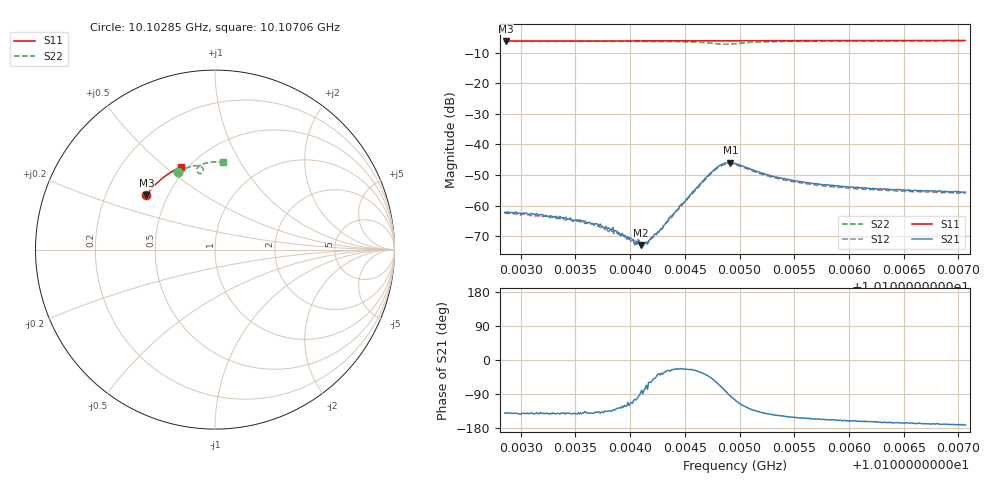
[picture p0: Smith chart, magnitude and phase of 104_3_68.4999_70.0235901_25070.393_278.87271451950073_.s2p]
#  HZ  S  RI  R  50.00
! Rohde & Schwarz Vector Network Analyzer
! Rohde-Schwarz,ZNB20-2Port,1311601062101988,3.16
! Created: UTC 3/20/2024, 4:53:11 PM
! freq[Hz]  re:S11  im:S11  re:S21  im:S21  re:S12  im:S12  re:S22  im:S22
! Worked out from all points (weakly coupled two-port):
!   401 points, 10.10285 GHz to 10.10706 GHz, reference 50 ohm
!   highest |S21| = -45.94 dB at 10.10492 GHz (marker M1); lowest = -72.8 dB at 10.1041 GHz (marker M2)
!   lowest |S11| = -6.2 dB at 10.10286 GHz (marker M3), VSWR 2.91, Z = 19 + j15.1 ohm
!   |S11| at or under -10 dB: nowhere
!   |S22| runs from -7.3 to -6.2 dB; largest |S21 - S12| = 0.00052
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1.0102853e10  -0.383 0.3024  -0.000597 -0.000497  -0.000544 -0.000542  -0.2068 0.4335
1.0102863e10  -0.3826 0.3028  -0.000608 -0.000503  -0.000539 -0.000522  -0.2061 0.434
1.0103168e10  -0.3714 0.3177  -0.000551 -0.000429  -0.000486 -0.000456  -0.188 0.4429
1.0103558e10  -0.3565 0.3361  -0.000432 -0.000343  -0.000387 -0.000396  -0.1635 0.4534
1.0103642e10  -0.3532 0.34  -0.000392 -0.000326  -0.000322 -0.000389  -0.158 0.4556
1.0103821e10  -0.3459 0.3482  -0.000281 -0.000289  -0.000258 -0.000327  -0.146 0.4596
1.0103948e10  -0.3406 0.3538  -0.000161 -0.000286  -0.000125 -0.000287  -0.1372 0.4623
1.0104e10  -0.3384 0.356  -0.000128 -0.000267  -7.5e-05 -0.000242  -0.1333 0.4634
1.0104042e10  -0.3366 0.358  -5.59e-05 -0.000222  -5.48e-05 -0.000253  -0.1302 0.4643
1.0104095e10  -0.3344 0.3601  1.21e-05 -0.000228  3.54e-05 -0.000221  -0.1262 0.4651
1.0104116e10  -0.3336 0.361  3.38e-06 -0.000246  5.71e-05 -0.000226  -0.1246 0.4656
1.0104148e10  -0.332 0.3624  9.88e-05 -0.000227  0.000104 -0.000234  -0.1221 0.4662
1.0104264e10  -0.3272 0.3674  0.000305 -0.000223  0.00032 -0.000192  -0.1126 0.4676
1.0104474e10  -0.3177 0.3762  0.000985 -0.000422  0.000987 -0.000313  -0.0924 0.4678
1.0104748e10  -0.3053 0.387  0.00235 -0.00269  0.0025 -0.0024  -0.0649 0.443
1.0104843e10  -0.3009 0.3907  0.00134 -0.00457  0.00164 -0.00426  -0.0743 0.4254
1.0104916e10  -0.2975 0.3935  -0.000445 -0.00503  2.48e-05 -0.00481  -0.0908 0.4255
1.0104959e10  -0.2957 0.395  -0.00128 -0.00467  -0.000876 -0.00461  -0.0974 0.4313
1.0105306e10  -0.2792 0.4082  -0.00244 -0.00176  -0.0022 -0.00192  -0.0821 0.4707
1.0105664e10  -0.2615 0.4209  -0.0021 -0.000954  -0.0019 -0.00113  -0.0537 0.4812
1.010637e10  -0.2251 0.4434  -0.00179 -0.00047  -0.00167 -0.000635  -0.00423 0.4883
1.0107065e10  -0.1875 0.4621  -0.00165 -0.000239  -0.00156 -0.000421  0.0418 0.4886
